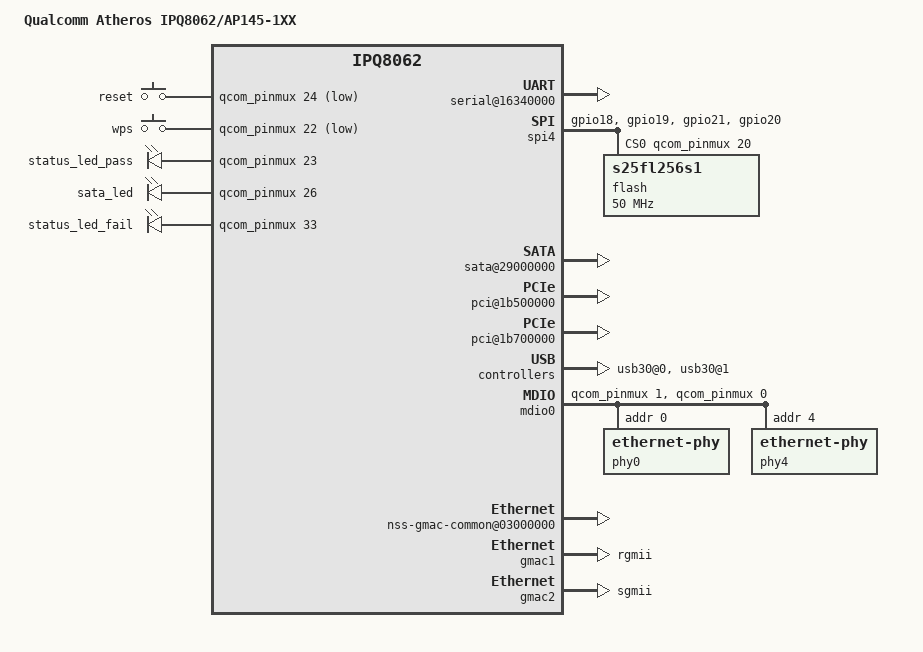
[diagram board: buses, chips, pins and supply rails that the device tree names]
/* Copyright (c) 2015-2016, The Linux Foundation. All rights reserved.
 *
 * Permission to use, copy, modify, and/or distribute this software for any
 * purpose with or without fee is hereby granted, provided that the above
 * copyright notice and this permission notice appear in all copies.
 *
 * THE SOFTWARE IS PROVIDED "AS IS" AND THE AUTHOR DISCLAIMS ALL WARRANTIES
 * WITH REGARD TO THIS SOFTWARE INCLUDING ALL IMPLIED WARRANTIES OF
 * MERCHANTABILITY AND FITNESS. IN NO EVENT SHALL THE AUTHOR BE LIABLE FOR
 * ANY SPECIAL, DIRECT, INDIRECT, OR CONSEQUENTIAL DAMAGES OR ANY DAMAGES
 * WHATSOEVER RESULTING FROM LOSS OF USE, DATA OR PROFITS, WHETHER IN AN
 * ACTION OF CONTRACT, NEGLIGENCE OR OTHER TORTIOUS ACTION, ARISING OUT OF
 * OR IN CONNECTION WITH THE USE OR PERFORMANCE OF THIS SOFTWARE.
 *
 */

#include <dt-bindings/interrupt-controller/arm-gic.h>
#include <dt-bindings/interrupt-controller/irq.h>
#include <dt-bindings/input/input.h>
#include <dt-bindings/gpio/gpio.h>

/ {
	model = "Qualcomm Atheros IPQ8062/AP145-1XX";
	compatible = "qcom,ipq8062-ap145_1xx", "qcom,ipq8062";

	aliases {
		serial0 = &uart4;
	};

	reserved-memory {
		#address-cells = <1>;
		#size-cells = <1>;
		ranges;
		rsvd@41200000 {
			reg = <0x41200000 0x300000>;
			no-map;
		};
	};

	cpus {
		#address-cells = <1>;
		#size-cells = <0>;

		cpu@0 {
			compatible = "qcom,krait";
			enable-method = "qcom,kpss-acc-v1";
			device_type = "cpu";
			clock-latency = <100000>;
			voltage-tolerance = <5>;

			cooling-min-state = <0>;
			cooling-max-state = <10>;
			#cooling-cells = <2>;
		};

		cpu@1 {
			compatible = "qcom,krait";
			enable-method = "qcom,kpss-acc-v1";
			device_type = "cpu";
			reg = <1>;
			qcom,acc = <&acc1>;
			qcom,saw = <&saw1>;
			core-supply = <&smb208_s2b>;
			clocks = <&kraitcc 1>;
			clock-names = "cpu";
			clock-latency = <100000>;

			cooling-min-state = <0>;
			cooling-max-state = <10>;
			#cooling-cells = <2>;
		};

		L2: l2-cache {
			compatible = "cache";
			cache-level = <2>;
			clocks = <&kraitcc 4>;
			clock-names = "cache";
			vdd_dig-supply = <&smb208_s1a>;
			cache-points-kHz = <
				/* kHz    uV    CPU kHz */
				1000000 1100000  600000
				384000  1100000  384000
			>;
		};

	};

	qcom,pvs {
		qcom,pvs-format-a;
		qcom,speed0-pvs0-bin-v0 =
			< 1000000000 1150000 >,
			< 800000000 1100000 >,
			< 600000000 1050000 >,
			< 384000000 1000000 >;

		qcom,speed0-pvs1-bin-v0 =
			< 1000000000 1075000 >,
			< 800000000 1025000 >,
			< 600000000  975000 >,
			< 384000000  925000 >;

		qcom,speed0-pvs2-bin-v0 =
			< 1000000000 1025000 >,
			< 800000000  995000 >,
			< 600000000  925000 >,
			< 384000000  875000 >;

		qcom,speed0-pvs3-bin-v0 =
			< 1000000000  950000 >,
			< 800000000  900000 >,
			< 600000000  850000 >,
			< 384000000  800000 >;
	};

	aliases {
		mdio-gpio0 = &mdio0;
		/*
		 * U-Boot searches for these entries and patches
		 * 'local-mac-address'
		 */
		ethernet0 = &gmac1;
		ethernet1 = &gmac2;
	};

	soc {
		pinmux@800000 {
			pinctrl-0 = <&rgmii2_pins_default>;
			pinctrl-names = "default";

			sdcc1_pins: sdcc1_pinmux {
				mux {
					pins = "gpio38", "gpio39", "gpio40",
					"gpio41", "gpio42", "gpio43",
					"gpio44", "gpio45", "gpio46",
					"gpio47";
					function = "sdc1";
				};
				cmd {
					pins = "gpio45";
					drive-strength = <10>;
					bias-pull-up;
				};
				data {
					pins = "gpio38", "gpio39", "gpio40",
					"gpio41", "gpio43", "gpio44",
					"gpio46", "gpio47";
					drive-strength = <10>;
					bias-pull-up;
				};
				clk {
					pins = "gpio42";
					drive-strength = <16>;
					bias-disable;
				};
			};

			nss_spi_pins: nss_spi_pins {
				mux {
					pins = "gpio14", "gpio15", "gpio16",
					       "gpio17", "gpio55", "gpio56",
					       "gpio57", "gpio58";
					function = "nss_spi";
					drive-strengh = <10>;
				};
				data {
					pins = "gpio14", "gpio15", "gpio55",
					       "gpio56";
					bias-none;
				};
				cs {
					pins = "gpio16", "gpio17", "gpio57",
					       "gpio58";
					bias-pull-up;
				};
			};

			spi_pins: spi_pins {
				mux {
					pins = "gpio18", "gpio19", "gpio21";
					function = "gsbi5";
					drive-strength = <10>;
					bias-none;
				};
				cs {
					pins = "gpio20";
					drive-strength = <12>;
				};
			};
			nand_pins: nand_pins {
				mux {
					pins = "gpio34", "gpio35", "gpio36",
					       "gpio37", "gpio38", "gpio39",
					       "gpio40", "gpio41", "gpio42",
					       "gpio43", "gpio44", "gpio45",
					       "gpio46", "gpio47";
					function = "nand";
					drive-strength = <10>;
					bias-disable;
				};
				pullups {
					pins = "gpio39";
					bias-pull-up;
				};
				hold {
					pins = "gpio40", "gpio41", "gpio42",
						"gpio43", "gpio44", "gpio45",
						"gpio46", "gpio47";
					bias-bus-hold;
				};
			};

			rgmii2_pins_default: rgmii2_pins_default {
				mux {
					pins = "gpio27", "gpio28", "gpio29",
						"gpio30", "gpio31", "gpio32",
					       "gpio51", "gpio52", "gpio59",
						"gpio60", "gpio61", "gpio62" ;
					function = "rgmii2";
					drive-strength = <8>;
					bias-disable;
				};
			};

			leds_pins: leds_pins {
				mux {
					pins = "gpio23", "gpio26", "gpio33";
					function = "gpio";
					drive-strength = <2>;
					bias-pull-down;
					output-low;
				};
			};

			buttons_pins: buttons_pinmux {
				mux {
					pins = "gpio22", "gpio24";
					drive-strength = <2>;
					bias-pull-up;
				};
			};
		};

		gsbi@16300000 {
			qcom,mode = <GSBI_PROT_I2C_UART>;
			status = "ok";
			serial@16340000 {
				status = "ok";
			};
			/*
			 * The i2c device on gsbi4 should not be enabled.
			 * On ipq806x designs gsbi4 i2c is meant for exclusive
			 * RPM usage. Turning this on in kernel manifests as
			 * i2c failure for the RPM.
			 */
		};

		gsbi5: gsbi@1a200000 {
			qcom,mode = <GSBI_PROT_SPI>;
			status = "ok";

			spi4: spi@1a280000 {
				status = "ok";
				spi-max-frequency = <50000000>;

				pinctrl-0 = <&spi_pins>;
				pinctrl-names = "default";

				cs-gpios = <&qcom_pinmux 20 0>;
				dmas = <&adm_dma 6>, <&adm_dma 5>;
				dma-names = "rx", "tx";
				qcom,rx-crci = <9>;
				qcom,tx-crci = <10>;

				flash: m25p80@0 {
					compatible = "s25fl256s1";
					#address-cells = <1>;
					#size-cells = <1>;
					spi-max-frequency = <50000000>;
					reg = <0>;
					m25p,fast-read;
				};
			};
		};

		sata-phy@1b400000 {
			status = "ok";
		};

		sata@29000000 {
			status = "ok";
		};

		pci@1b500000 {
			status = "ok";
		};

		pci@1b700000 {
			status = "ok";
		};

		dma@18300000 {
			status = "ok";
		};

		phy@100f8800 {		/* USB3 port 1 HS phy */
			status = "ok";
		};

		phy@100f8830 {		/* USB3 port 1 SS phy */
			status = "ok";
		};

		phy@110f8800 {		/* USB3 port 0 HS phy */
			status = "ok";
		};

		phy@110f8830 {		/* USB3 port 0 SS phy */
			status = "ok";
		};

		usb30@0 {
			status = "ok";
			dwc3@11000000 {
				usb3_dev_reset_quirk;
			};
		};

		usb30@1 {
			status = "ok";
			dwc3@10000000 {
				usb3_dev_reset_quirk;
			};
		};

		gpio_keys {
			compatible = "gpio-keys";
			pinctrl-0 = <&buttons_pins>;
			pinctrl-names = "default";
			button@1 {
				label = "reset";
				linux,code = <KEY_RESTART>;
				gpios = <&qcom_pinmux 24 GPIO_ACTIVE_LOW>;
				linux,input-type = <1>;
				debounce-interval = <60>;
			};
			button@2 {
				label = "wps";
				linux,code = <KEY_WPS_BUTTON>;
				gpios = <&qcom_pinmux 22 GPIO_ACTIVE_LOW>;
				linux,input-type = <1>;
				debounce-interval = <60>;
			};
		};

		leds {
			compatible = "gpio-leds";
			pinctrl-0 = <&leds_pins>;
			pinctrl-names = "default";

			led@23 {
				label = "status_led_pass";
				gpios = <&qcom_pinmux 23 GPIO_ACTIVE_HIGH>;
				default-state = "off";
			};

			led@26 {
				label = "sata_led";
				gpios = <&qcom_pinmux 26 GPIO_ACTIVE_HIGH>;
				default-state = "off";
			};

			led@33 {
				label = "status_led_fail";
				gpios = <&qcom_pinmux 33 GPIO_ACTIVE_HIGH>;
				default-state = "off";
			};
		};

		mdio0: mdio {
			compatible = "virtual,mdio-gpio";
			#address-cells = <1>;
			#size-cells = <0>;
			gpios = <&qcom_pinmux 1 0 &qcom_pinmux 0 0>;

			phy0: ethernet-phy@0 {
				device_type = "ethernet-phy";
				reg = <0>;
				qca,ar8327-initvals = <
					0x00004 0x7600000   /* PAD0_MODE */
					0x00008 0x1000000   /* PAD5_MODE */
					0x0000c 0x80        /* PAD6_MODE */
					0x000e4 0xaa545     /* MAC_POWER_SEL */
					0x000e0 0xc74164de  /* SGMII_CTRL */
					0x0007c 0x4e        /* PORT0_STATUS */
					0x00094 0x4e        /* PORT6_STATUS */
				>;
			};

			phy4: ethernet-phy@4 {
				device_type = "ethernet-phy";
				reg = <4>;
			};
		};

		nss0: nss@40000000 {
			compatible = "qcom,nss";
			pinctrl-0 = <&nss_spi_pins>;
			pinctrl-names = "default";
			interrupts = <GIC_SPI 213 IRQ_TYPE_LEVEL_HIGH>,
				     <GIC_SPI 232 IRQ_TYPE_LEVEL_HIGH>;
			reg = <0x36000000 0x1000 0x39000000 0x10000>;
			reg-names = "nphys", "vphys";
			clocks = <&gcc NSS_CORE_CLK>, <&gcc NSSTCM_CLK_SRC>,
				 <&gcc NSSTCM_CLK>, <&nss_fabric0_clk>,
				 <&nss_fabric1_clk>;
			clock-names = "nss-core-clk", "nss-tcm-src",
				      "nss-tcm-clk", "nss-fab0-clk",
				      "nss-fab1-clk";
			resets = <&gcc UBI32_CORE1_CLKRST_CLAMP_RESET>,
				 <&gcc UBI32_CORE1_CLAMP_RESET>,
				 <&gcc UBI32_CORE1_AHB_RESET>,
				 <&gcc UBI32_CORE1_AXI_RESET>;
			reset-names = "clkrst-clamp", "clamp", "ahb", "axi";

			qcom,id = <0>;
			qcom,num-irq = <2>;
			qcom,num-queue = <2>;
			qcom,load-addr = <0x40000000>;

			qcom,low-frequency = <110000000>;
			qcom,mid-frequency = <275000000>;
			qcom,max-frequency = <550000000>;

			qcom,ipv4-enabled;
			qcom,ipv6-enabled;
			qcom,l2tpv2-enabled;
			qcom,gre-enabled;
			qcom,portid-enabled;
			qcom,pppoe-enabled;
			qcom,pptp-enabled;
			qcom,shaping-enabled;
			qcom,tun6rd-enabled;
			qcom,tunipip6-enabled;
			qcom,wlanredirect-enabled;
			qcom,wlan-dataplane-offload-enabled;
		};

		nss1: nss@40800000 {
			compatible = "qcom,nss";
			interrupts = <GIC_SPI 214 IRQ_TYPE_LEVEL_HIGH>,
				     <GIC_SPI 233 IRQ_TYPE_LEVEL_HIGH>;
			reg = <0x36400000 0x1000 0x39010000 0x10000>;
			reg-names = "nphys", "vphys";
			resets = <&gcc UBI32_CORE2_CLKRST_CLAMP_RESET>,
				 <&gcc UBI32_CORE2_CLAMP_RESET>,
				 <&gcc UBI32_CORE2_AHB_RESET>,
				 <&gcc UBI32_CORE2_AXI_RESET>;
			reset-names = "clkrst-clamp", "clamp", "ahb", "axi";

			qcom,id = <1>;
			qcom,num-irq = <2>;
			qcom,num-queue = <2>;
			qcom,load-addr = <0x40800000>;

			qcom,low-frequency = <110000000>;
			qcom,mid-frequency = <275000000>;
			qcom,max-frequency = <550000000>;

			qcom,capwap-enabled;
			qcom,crypto-enabled;
			qcom,dtls-enabled;
			qcom,ipsec-enabled;
		};

		nss-gmac-common@03000000 {
			compatible = "qcom,nss-gmac-common";
			reg = <0x03000000 0x0000FFFF 0x1bb00000 0x0000FFFF
				0x00900000 0x00004000>;
			reg-names = "nss_reg_base" , "qsgmii_reg_base",
				"clk_ctl_base";
		};

		gmac1: ethernet@37200000 {
			device_type = "network";
			compatible = "qcom,nss-gmac";
			reg = <0x37200000 0x200000>;
			interrupts = <GIC_SPI 223 IRQ_TYPE_LEVEL_HIGH>;
			phy-mode = "rgmii";
			qcom,id = <1>;
			qcom,pcs-chanid = <0>;
			qcom,phy-mdio-addr = <4>;
			qcom,poll-required = <1>;
			qcom,rgmii-delay = <1>;
			qcom,forced-speed = <1000>;
			qcom,forced-duplex = <1>;
			qcom,socver = <0>;
			local-mac-address = [000000000000];
			mdiobus = <&mdio0>;
		};

		gmac2: ethernet@37400000 {
			device_type = "network";
			compatible = "qcom,nss-gmac";
			reg = <0x37400000 0x200000>;
			interrupts = <GIC_SPI 226 IRQ_TYPE_LEVEL_HIGH>;
			phy-mode = "sgmii";
			qcom,id = <2>;
			qcom,pcs-chanid = <1>;
			qcom,phy-mdio-addr = <0>;
			qcom,poll-required = <0>;
			qcom,rgmii-delay = <0>;
			qcom,forced-speed = <1000>;
			qcom,forced-duplex = <1>;
			qcom,socver = <0>;
			local-mac-address = [000000000000];
			mdiobus = <&mdio0>;
		};

		crypto1: crypto@38000000 {
			compatible = "qcom,nss-crypto";
			reg-names = "crypto_pbase", "bam_base";
			reg = <0x38000000 0x20000>,
			    <0x38004000 0x22000>;
			resets = <&gcc CRYPTO_ENG1_RESET>,
				<&gcc CRYPTO_AHB_RESET>;
			reset-names = "rst_eng", "rst_ahb";
			clocks = <&gcc CE5_CORE_CLK>, <&gcc CE5_A_CLK>,
			       <&gcc CE5_H_CLK>;
			clock-names = "ce5_core", "ce5_aclk", "ce5_hclk";
			qcom,ee = <0>;
		};

		crypto2: crypto@38400000 {
			compatible = "qcom,nss-crypto";
			reg-names = "crypto_pbase", "bam_base";
			reg = <0x38400000 0x20000>,
			    <0x38404000 0x22000>;
			resets = <&gcc CRYPTO_ENG2_RESET>;
			reset-names = "rst_eng";
			qcom,ee = <0>;
		};

		crypto3: crypto@38800000 {
			compatible = "qcom,nss-crypto";
			reg-names = "crypto_pbase", "bam_base";
			reg = <0x38800000 0x20000>,
			    <0x38804000 0x22000>;
			resets = <&gcc CRYPTO_ENG3_RESET>;
			reset-names = "rst_eng";
			qcom,ee = <0>;
		};

		crypto4: crypto@38C00000 {
			compatible = "qcom,nss-crypto";
			reg-names = "crypto_pbase", "bam_base";
			reg = <0x38C00000 0x20000>,
			    <0x38C04000 0x22000>;
			resets = <&gcc CRYPTO_ENG4_RESET>;
			reset-names = "rst_eng";
			qcom,ee = <0>;
		};
	};

	amba {
		/* eMMC */
		sdcc@12400000 {
			status = "ok";
			pinctrl-0 = <&sdcc1_pins>;
			pinctrl-names = "default";
		};
	};

};
